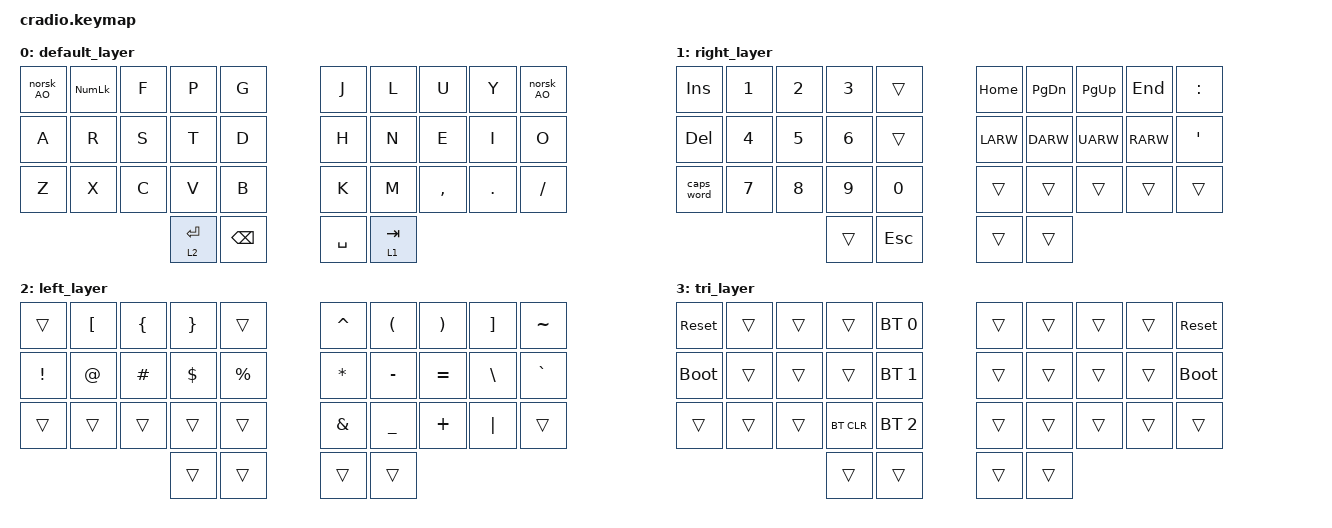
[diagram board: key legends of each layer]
// Copyright (c) 2022 The ZMK Contributors
// SPDX-License-Identifier: MIT

#include <behaviors.dtsi>
#include <dt-bindings/zmk/keys.h>
#include <dt-bindings/zmk/bt.h>

/ {
//raw
    macros {
        norsk_AO: norsk_AO {
            compatible = "zmk,behavior-macro";
            #binding-cells = <0>;
            bindings =
                <&macro_press &kp LEFT_ALT>,
                <&macro_tap &kp KP_NUMBER_0 &kp KP_NUMBER_2 &kp KP_NUMBER_2 &kp KP_NUMBER_9>,
                <&macro_release &kp LEFT_ALT>;

            label = "NORSK_AO";
        };
        
    };
//raw

    behaviors {
        ht: hold_tap {
            label = "hold_tap";
            compatible = "zmk,behavior-hold-tap";
            #binding-cells = <2>;
            flavor = "tap-preferred";
            tapping-term-ms = <220>;
            quick-tap-ms = <150>;
            require-prior-idle-ms = <100>;
            bindings = <&kp>, <&kp>;
        };
    };

    conditional_layers {
        compatible = "zmk,conditional-layers";
        tri_layer {
            if-layers = <1 2>;
            then-layer = <3>;
        };
    };

    keymap {
        compatible = "zmk,keymap";
        default_layer {
            bindings = <

            &norsk_AO      &kp KP_NUMLOCK      &kp F      &kp P      &kp G          &kp J      &kp L      &kp U      &kp Y      &norsk_AO
            &kp A       &kp R      &kp S      &kp T     &kp D          &kp H       &kp N      &kp E      &kp I       &kp O
            &kp Z      &kp X      &kp C      &kp V      &kp B          &kp K      &kp M      &kp COMMA  &kp DOT    &kp FSLH
                                            &lt 2 ENTER   &kp BSPC     &kp SPACE  &lt 1 TAB
            >;
        };

        right_layer {
            bindings = <
            &kp INS    &kp N1     &kp N2     &kp N3     &trans         &kp HOME   &kp PG_DN  &kp PG_UP  &kp END    &kp COLON
            &kp DEL    &kp N4     &kp N5     &kp N6     &trans         &kp LARW   &kp DARW   &kp UARW   &kp RARW   &kp SQT
           &caps_word  &kp N7     &kp N8     &kp N9     &kp N0         &trans     &trans     &trans     &trans     &trans
                                             &trans     &kp ESC        &trans     &trans
            >;
        };

        left_layer {
            bindings = <
            &trans     &kp LBKT   &kp LBRC   &kp RBRC   &trans         &kp CARET  &kp LPAR   &kp RPAR   &kp RBKT   &kp TILDE
            &kp EXCL   &kp AT     &kp HASH   &kp DLLR   &kp PRCNT      &kp ASTRK  &kp MINUS  &kp EQUAL  &kp BSLH   &kp GRAVE
            &trans     &trans     &trans     &trans     &trans         &kp AMPS   &kp UNDER  &kp PLUS   &kp PIPE   &trans
                                             &trans     &trans         &trans     &trans
            >;
        };

        tri_layer {
            bindings = <
           &sys_reset  &trans     &trans     &trans    &bt BT_SEL 0    &trans     &trans     &trans     &trans    &sys_reset
          &bootloader  &trans     &trans     &trans    &bt BT_SEL 1    &trans     &trans     &trans     &trans    &bootloader
            &trans     &trans     &trans    &bt BT_CLR &bt BT_SEL 2    &trans     &trans     &trans     &trans     &trans
                                             &trans     &trans         &trans     &trans
            >;
        };
    };
};
